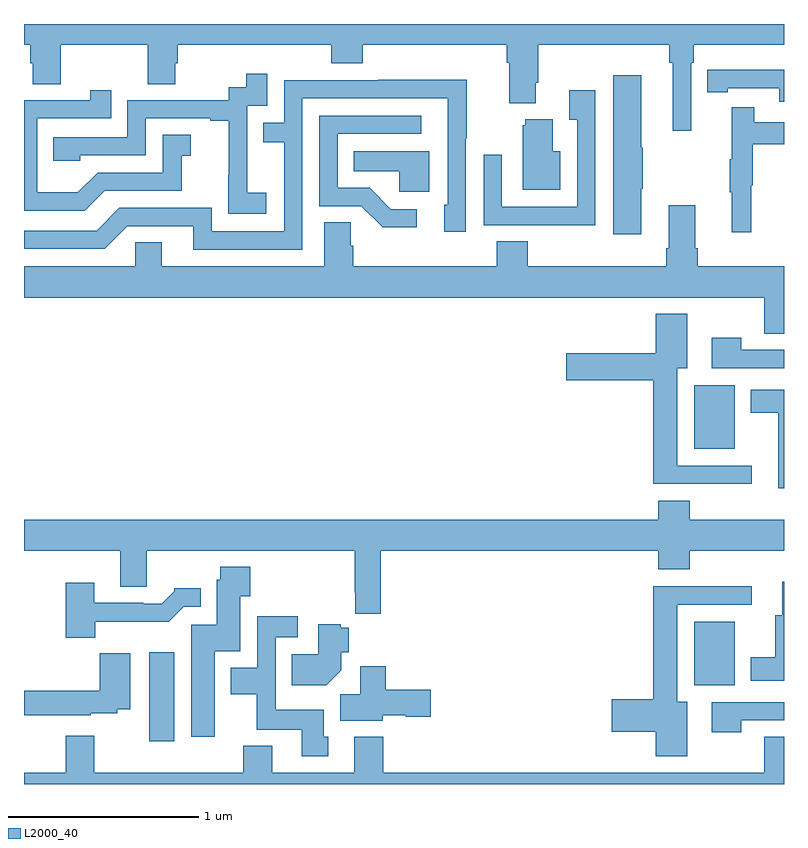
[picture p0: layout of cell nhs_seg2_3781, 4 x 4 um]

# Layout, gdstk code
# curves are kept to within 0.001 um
import gdstk
lib = gdstk.Library(unit=1e-6, precision=1e-09)
def R(c, l, rs):  # rectangles x0, y0, x1, y1
    for r in rs: c.add(gdstk.rectangle(r[:2], r[2:], *l))
def P(c, l, *ps):  # polygons
    for p in ps: c.add(gdstk.Polygon(p, *l))
L2000_40 = (2000, 40)

nhs_seg2_3781 = lib.new_cell('nhs_seg2_3781')
R(nhs_seg2_3781, L2000_40, [(311.66,588.024,311.791,588.493), (314.528,588.32,314.74,588.655), (314.528,589.565,314.74,589.9)])
P(nhs_seg2_3781, L2000_40, [(311,591.692),(311.033,591.692),(311.033,591.594),(311.045,591.594),(311.045,591.484),(311.193,591.484),(311.193,591.692),(311.65,591.692),(311.65,591.484),(311.797,591.484),(311.797,591.594),(311.81,591.594),(311.81,591.692),(312.617,591.692),(312.617,591.593),(312.782,591.593),(312.782,591.692),(313.541,591.692),(313.541,591.596),(313.553,591.596),(313.553,591.383),(313.693,591.383),(313.693,591.49),(313.706,591.49),(313.706,591.692),(314.395,591.692),(314.395,591.596),(314.414,591.596),(314.414,591.237),(314.511,591.237),(314.511,591.596),(314.525,591.596),(314.525,591.692),(315,591.692),(315,591.8),(311,591.8)],
  [(315,591.559),(314.704,591.559),(314.704,591.558),(314.596,591.558),(314.596,591.442),(314.704,591.442),(314.704,591.462),(314.976,591.462),(314.976,591.39),(315,591.39)],
  [(312.274,590.911),(312.176,590.911),(312.176,591.14),(312.174,591.14),(312.174,591.369),(312.279,591.369),(312.279,591.538),(312.171,591.538),(312.171,591.468),(312.078,591.468),(312.078,591.399),(311.544,591.399),(311.544,591.204),(311.155,591.204),(311.155,591.081),(311.295,591.081),(311.295,591.108),(311.64,591.108),(311.64,591.303),(311.981,591.303),(311.981,591.291),(312.077,591.291),(312.077,591.007),(312.076,591.007),(312.076,590.801),(312.274,590.801)],
  [(314.248,590.932),(314.256,590.932),(314.256,591.149),(314.248,591.149),(314.248,591.529),(314.102,591.529),(314.102,590.694),(314.248,590.694)],
  [(312.465,591.408),(313.229,591.408),(313.23,590.85),(313.211,590.85),(313.211,590.706),(313.326,590.706),(313.326,591.199),(313.329,591.199),(313.329,591.506),(312.865,591.506),(312.865,591.504),(312.369,591.504),(312.369,591.279),(312.259,591.279),(312.259,591.178),(312.369,591.178),(312.369,590.709),(311.988,590.709),(311.988,590.832),(311.502,590.832),(311.382,590.712),(311,590.712),(311,590.616),(311.424,590.616),(311.544,590.736),(311.891,590.736),(311.891,590.613),(312.465,590.613)],
  [(311.425,590.922),(311.829,590.922),(311.829,591.107),(311.878,591.107),(311.878,591.217),(311.73,591.217),(311.73,591.018),(311.388,591.018),(311.284,590.914),(311.07,590.914),(311.07,591.303),(311.459,591.303),(311.459,591.451),(311.348,591.451),(311.348,591.399),(311,591.399),(311,590.817),(311.32,590.817)],
  [(314.007,591.451),(313.871,591.451),(313.871,591.295),(313.911,591.295),(313.911,590.838),(313.515,590.838),(313.515,591.112),(313.419,591.112),(313.419,590.742),(313.735,590.742),(313.735,590.741),(314.007,590.741)],
  [(314.828,590.952),(314.836,590.952),(314.836,591.166),(315,591.166),(315,591.282),(314.843,591.282),(314.843,591.361),(314.726,591.361),(314.726,591.089),(314.715,591.089),(314.715,590.915),(314.726,590.915),(314.726,590.703),(314.828,590.703)],
  [(313.066,590.826),(312.931,590.826),(312.82,590.937),(312.651,590.937),(312.651,591.222),(313.09,591.222),(313.09,591.318),(312.555,591.318),(312.555,590.841),(312.774,590.841),(312.887,590.729),(313.066,590.729)],
  [(313.822,591.13),(313.783,591.13),(313.783,591.298),(313.637,591.298),(313.637,591.267),(313.625,591.267),(313.625,590.927),(313.822,590.927)],
  [(313.132,591.13),(312.736,591.13),(312.736,591.026),(312.975,591.026),(312.975,590.918),(313.132,590.918)],
  [(312.581,590.756),(312.581,590.524),(311.725,590.524),(311.725,590.651),(311.586,590.651),(311.586,590.524),(311,590.524),(311,590.36),(314.896,590.36),(314.896,590.17),(315,590.17),(315,590.524),(314.546,590.524),(314.546,590.62),(314.533,590.62),(314.533,590.845),(314.393,590.845),(314.393,590.62),(314.381,590.62),(314.381,590.524),(313.652,590.524),(313.652,590.657),(313.487,590.657),(313.487,590.524),(312.734,590.524),(312.734,590.633),(312.72,590.633),(312.72,590.756)],
  [(314.83,589.476),(314.437,589.476),(314.437,589.988),(314.491,589.988),(314.491,590.275),(314.324,590.275),(314.324,590.067),(313.854,590.067),(313.854,589.925),(314.312,589.925),(314.312,589.379),(314.83,589.379)],
  [(315,590.085),(314.775,590.085),(314.775,590.149),(314.619,590.149),(314.619,589.989),(315,589.989)],
  [(315,589.876),(314.825,589.876),(314.825,589.754),(314.969,589.754),(314.969,589.356),(315,589.356)],
  [(312.878,589.028),(314.339,589.028),(314.339,588.929),(314.504,588.929),(314.504,589.028),(315,589.028),(315,589.192),(314.504,589.192),(314.504,589.291),(314.339,589.291),(314.339,589.192),(311,589.192),(311,589.028),(311.507,589.028),(311.507,588.838),(311.647,588.838),(311.647,589.028),(312.742,589.028),(312.742,588.808),(312.743,588.808),(312.743,588.696),(312.878,588.696)],
  [(312.004,588.5),(312.139,588.5),(312.139,588.787),(312.191,588.787),(312.191,588.943),(312.034,588.943),(312.034,588.876),(312.014,588.876),(312.014,588.639),(311.879,588.639),(311.879,588.048),(312.004,588.048)],
  [(315,588.865),(314.99,588.865),(314.99,588.688),(314.954,588.688),(314.954,588.466),(314.825,588.466),(314.825,588.344),(315,588.344)],
  [(311.374,588.654),(311.763,588.654),(311.841,588.732),(311.929,588.732),(311.929,588.829),(311.79,588.829),(311.79,588.814),(311.726,588.75),(311.627,588.75),(311.627,588.753),(311.371,588.753),(311.371,588.859),(311.219,588.859),(311.219,588.569),(311.374,588.569)],
  [(314.491,588.232),(314.437,588.232),(314.437,588.744),(314.83,588.744),(314.83,588.842),(314.312,588.842),(314.312,588.245),(314.094,588.245),(314.094,588.074),(314.324,588.074),(314.324,587.946),(314.491,587.946)],
  [(312.601,588.048),(312.577,588.048),(312.577,588.19),(312.324,588.19),(312.324,588.573),(312.442,588.573),(312.442,588.682),(312.228,588.682),(312.228,588.412),(312.089,588.412),(312.089,588.272),(312.226,588.272),(312.226,588.086),(312.461,588.086),(312.461,587.946),(312.601,587.946)],
  [(312.67,588.398),(312.67,588.494),(312.709,588.494),(312.709,588.622),(312.666,588.622),(312.666,588.642),(312.548,588.642),(312.548,588.484),(312.409,588.484),(312.409,588.32),(312.592,588.32)],
  [(311.352,588.173),(311.49,588.173),(311.49,588.194),(311.56,588.194),(311.56,588.487),(311.398,588.487),(311.398,588.29),(311,588.29),(311,588.162),(311.352,588.162)],
  [(312.888,588.161),(313.008,588.161),(313.008,588.154),(313.141,588.154),(313.141,588.296),(312.905,588.296),(312.905,588.421),(312.77,588.421),(312.77,588.272),(312.665,588.272),(312.665,588.134),(312.888,588.134)],
  [(314.775,588.135),(315,588.135),(315,588.231),(314.619,588.231),(314.619,588.072),(314.775,588.072)],
  [(315,588.05),(314.896,588.05),(314.896,587.86),(312.89,587.86),(312.89,588.049),(312.737,588.049),(312.737,587.86),(312.307,587.86),(312.307,588.001),(312.155,588.001),(312.155,587.86),(311.371,587.86),(311.371,588.055),(311.219,588.055),(311.219,587.86),(311,587.86),(311,587.8),(315,587.8)])

lib.write_gds('nhs_seg2_3781.gds')
